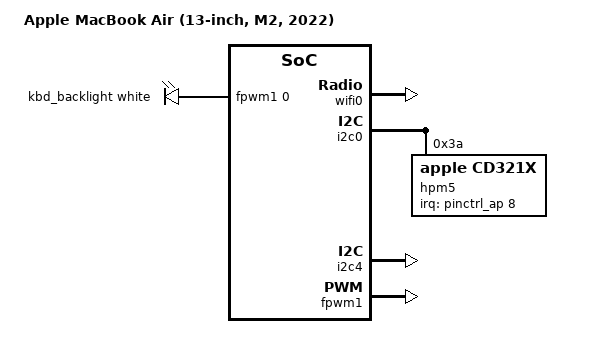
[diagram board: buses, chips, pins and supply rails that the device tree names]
// SPDX-License-Identifier: GPL-2.0+ OR MIT
/*
 * Apple MacBook Air (M2, 2022)
 *
 * target-type: J413
 *
 * Copyright The Asahi Linux Contributors
 */

/dts-v1/;

#include "t8112.dtsi"
#include "t8112-jxxx.dtsi"
#include <dt-bindings/leds/common.h>

/ {
	compatible = "apple,j413", "apple,t8112", "apple,arm-platform";
	model = "Apple MacBook Air (13-inch, M2, 2022)";

	aliases {
		bluetooth0 = &bluetooth0;
		wifi0 = &wifi0;
	};

	led-controller {
		compatible = "pwm-leds";
		led-0 {
			pwms = <&fpwm1 0 40000>;
			label = "kbd_backlight";
			function = LED_FUNCTION_KBD_BACKLIGHT;
			color = <LED_COLOR_ID_WHITE>;
			max-brightness = <255>;
			default-state = "keep";
		};
	};
};

/*
 * Force the bus number assignments so that we can declare some of the
 * on-board devices and properties that are populated by the bootloader
 * (such as MAC addresses).
 */
&port00 {
	bus-range = <1 1>;
	wifi0: wifi@0,0 {
		compatible = "pci14e4,4433";
		reg = <0x10000 0x0 0x0 0x0 0x0>;
		/* To be filled by the loader */
		local-mac-address = [00 10 18 00 00 10];
		apple,antenna-sku = "XX";
		brcm,board-type = "apple,hokkaido";
	};

	bluetooth0: bluetooth@0,1 {
		compatible = "pci14e4,5f71";
		reg = <0x10100 0x0 0x0 0x0 0x0>;
		/* To be filled by the loader */
		local-bd-address = [00 00 00 00 00 00];
		brcm,board-type = "apple,hokkaido";
	};
};

&i2c0 {
	/* MagSafe port */
	hpm5: usb-pd@3a {
		compatible = "apple,cd321x";
		reg = <0x3a>;
		interrupt-parent = <&pinctrl_ap>;
		interrupts = <8 IRQ_TYPE_LEVEL_LOW>;
		interrupt-names = "irq";
	};
};

&i2c4 {
	status = "okay";
};

&fpwm1 {
	status = "okay";
};
